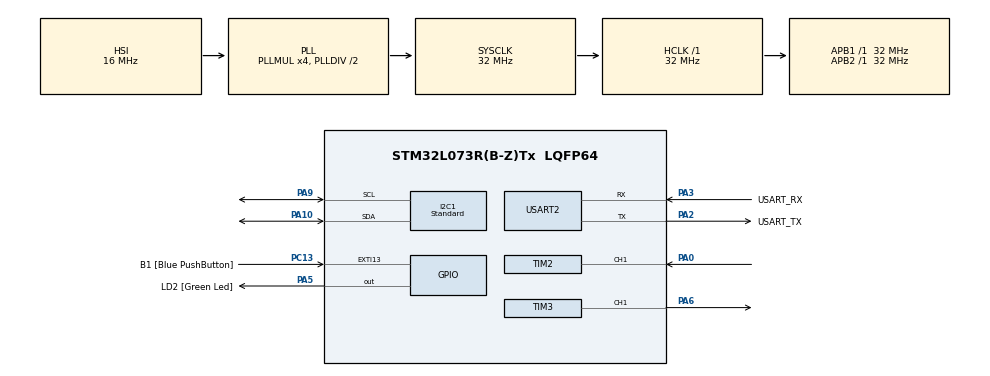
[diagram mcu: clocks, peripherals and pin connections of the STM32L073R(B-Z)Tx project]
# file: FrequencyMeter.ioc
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Dma.I2C1_RX.0.Direction=DMA_PERIPH_TO_MEMORY
Dma.I2C1_RX.0.Instance=DMA1_Channel3
Dma.I2C1_RX.0.MemDataAlignment=DMA_MDATAALIGN_BYTE
Dma.I2C1_RX.0.MemInc=DMA_MINC_ENABLE
Dma.I2C1_RX.0.Mode=DMA_NORMAL
Dma.I2C1_RX.0.PeriphDataAlignment=DMA_PDATAALIGN_BYTE
Dma.I2C1_RX.0.PeriphInc=DMA_PINC_DISABLE
Dma.I2C1_RX.0.Priority=DMA_PRIORITY_LOW
Dma.I2C1_TX.1.Direction=DMA_MEMORY_TO_PERIPH
Dma.I2C1_TX.1.Instance=DMA1_Channel2
Dma.I2C1_TX.1.MemDataAlignment=DMA_MDATAALIGN_BYTE
Dma.I2C1_TX.1.MemInc=DMA_MINC_ENABLE
Dma.I2C1_TX.1.Mode=DMA_NORMAL
Dma.I2C1_TX.1.PeriphDataAlignment=DMA_PDATAALIGN_BYTE
Dma.I2C1_TX.1.PeriphInc=DMA_PINC_DISABLE
Dma.I2C1_TX.1.Priority=DMA_PRIORITY_LOW
Dma.Request0=I2C1_RX
Dma.Request1=I2C1_TX
Dma.Request2=TIM2_CH1
Dma.TIM2_CH1.2.Direction=DMA_PERIPH_TO_MEMORY
Dma.TIM2_CH1.2.Instance=DMA1_Channel5
Dma.TIM2_CH1.2.MemDataAlignment=DMA_MDATAALIGN_HALFWORD
Dma.TIM2_CH1.2.MemInc=DMA_MINC_ENABLE
Dma.TIM2_CH1.2.Mode=DMA_CIRCULAR
Dma.TIM2_CH1.2.PeriphDataAlignment=DMA_PDATAALIGN_HALFWORD
Dma.TIM2_CH1.2.PeriphInc=DMA_PINC_DISABLE
Dma.TIM2_CH1.2.Priority=DMA_PRIORITY_LOW
I2C1.I2C_Rise_Time=0
I2C1.I2C_Speed_Mode=I2C_Standard
I2C1.Timing=0x40101A22
Mcu.Family=STM32L0
Mcu.Name=STM32L073R(B-Z)Tx
Mcu.Package=LQFP64
NVIC.DMA1_Channel2_3_IRQn=true\:0\:0\:false\:false\:true\:false\:true\:true
NVIC.DMA1_Channel4_5_6_7_IRQn=true\:0\:0\:false\:false\:true\:false\:true\:true
NVIC.I2C1_IRQn=true\:0\:0\:false\:false\:true\:true\:true\:true
NVIC.TIM2_IRQn=true\:0\:0\:false\:false\:true\:true\:true\:true
PA0.Signal=S_TIM2_CH1
PA10.Mode=I2C
PA10.Signal=I2C1_SDA
PA13.GPIO_Label=TMS
PA13.Mode=Serial_Wire
PA13.Signal=SYS_SWDIO
PA14.GPIO_Label=TCK
PA14.Mode=Serial_Wire
PA14.Signal=SYS_SWCLK
PA2.GPIO_Label=USART_TX
PA2.Mode=Asynchronous
PA2.Signal=USART2_TX
PA3.GPIO_Label=USART_RX
PA3.Mode=Asynchronous
PA3.Signal=USART2_RX
PA5.GPIO_Label=LD2 [Green Led]
PA5.Signal=GPIO_Output
PA6.Signal=S_TIM3_CH1
PA9.Mode=I2C
PA9.Signal=I2C1_SCL
PC13.GPIO_Label=B1 [Blue PushButton]
PC13.GPIO_ModeDefaultEXTI=GPIO_MODE_IT_FALLING
PC13.Signal=GPXTI13
PC14-OSC32_IN.Signal=RCC_OSC32_IN
PC15-OSC32_OUT.Signal=RCC_OSC32_OUT
PH0-OSC_IN.GPIO_Label=MCO
PH0-OSC_IN.Mode=HSE-External-Oscillator
PH0-OSC_IN.Signal=RCC_OSC_IN
PH1-OSC_OUT.Mode=HSE-External-Oscillator
PH1-OSC_OUT.Signal=RCC_OSC_OUT
ProjectManager.HeapSize=0x200
ProjectManager.StackSize=0x400
ProjectManager.TargetToolchain=MDK-ARM V5.32
RCC.AHBFreq_Value=32000000
RCC.APB1Freq_Value=32000000
RCC.APB1TimFreq_Value=32000000
RCC.APB2Freq_Value=32000000
RCC.APB2TimFreq_Value=32000000
RCC.HCLKFreq_Value=32000000
RCC.HSE_VALUE=8000000
RCC.HSI16_VALUE=16000000
RCC.HSI48_VALUE=48000000
RCC.HSI_VALUE=16000000
RCC.LSE_VALUE=32768
RCC.MSI_VALUE=2097000
RCC.PLLMUL=RCC_PLLMUL_4
RCC.SYSCLKFreq_VALUE=32000000
RCC.SYSCLKSource=RCC_SYSCLKSOURCE_PLLCLK
RCC.VCOOutputFreq_Value=64000000
SH.S_TIM2_CH1.0=TIM2_CH1,Input_Capture1_from_TI1
SH.S_TIM3_CH1.0=TIM3_CH1,PWM Generation1 CH1
TIM2.Channel-Input_Capture1_from_TI1=TIM_CHANNEL_1
TIM2.Period=0xffff
TIM2.Prescaler=32-1
TIM3.Channel-PWM\ Generation1\ CH1=TIM_CHANNEL_1
TIM3.Period=25000
TIM3.Prescaler=512-1
USART2.VirtualMode-Asynchronous=VM_ASYNC
VP_TIM2_VS_ClockSourceINT.Mode=Internal
VP_TIM3_VS_ClockSourceINT.Mode=Internal
board=NUCLEO-L073RZ

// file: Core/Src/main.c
/* USER CODE BEGIN Header */
/**
  ******************************************************************************
  * @file           : main.c
  * @brief          : Main program body
  ******************************************************************************
  * @attention
  *
  * Copyright (c) 2026 STMicroelectronics.
  * All rights reserved.
  *
  * This software is licensed under terms that can be found in the LICENSE file
  * in the root directory of this software component.
  * If no LICENSE file comes with this software, it is provided AS-IS.
  *
  ******************************************************************************
  */
/* USER CODE END Header */
#include "main.h"

/* USER CODE BEGIN Includes */
#include <math.h>
#include <stdlib.h>
#include <stdio.h>
#include "I2C_LCD.h"

/* USER CODE END Includes */

/* USER CODE BEGIN PD */
#define TIMCLOCK 32000000
#define MyI2C_LCD I2C_LCD_1

/* USER CODE END PD */

I2C_HandleTypeDef hi2c1;
DMA_HandleTypeDef hdma_i2c1_rx;
DMA_HandleTypeDef hdma_i2c1_tx;

TIM_HandleTypeDef htim2;
TIM_HandleTypeDef htim3;
DMA_HandleTypeDef hdma_tim2_ch1;

UART_HandleTypeDef huart2;

/* USER CODE BEGIN PV */

// First & second Rising Edge time values, difference in time and etc..
uint32_t IC_Val1 = 0;
uint32_t IC_Val2 = 0;
uint32_t Difference = 0;
int Is_First_Captured = 0;

// TIM2 Signal capture prescaler. Lower for higher frequency signal measurement.
// Higher for lower frequency signal measurment.
int PRESCALERabc = 16;

// Frequency generator Prescaler
int TIM3Pres = 65536;

float frequency = 0;
char ToMonitor[18];

// Variables for UART
uint8_t rxData;
char txMessage[50];

/* USER CODE END PV */

void SystemClock_Config(void);
static void MX_GPIO_Init(void);
static void MX_DMA_Init(void);
static void MX_USART2_UART_Init(void);
static void MX_I2C1_Init(void);
static void MX_TIM2_Init(void);
static void MX_TIM3_Init(void);

/* USER CODE BEGIN 0 */
void HAL_TIM_IC_CaptureCallback(TIM_HandleTypeDef *htim)
{
	if (htim->Channel == HAL_TIM_ACTIVE_CHANNEL_1)
	{
		if (Is_First_Captured==0) // if the first rising edge is not captured
		{
			IC_Val1 = HAL_TIM_ReadCapturedValue(htim, TIM_CHANNEL_1); // read the first value
			Is_First_Captured = 1;  // set the first captured as true
		}

		else   // If the first rising edge is captured, now we will capture the second edge
		{
			IC_Val2 = HAL_TIM_ReadCapturedValue(htim, TIM_CHANNEL_1);  // read second value

			if (IC_Val2 > IC_Val1)
			{
				Difference = IC_Val2-IC_Val1;
			}

			else if (IC_Val1 > IC_Val2)
			{
				Difference = (0xffff - IC_Val1) + IC_Val2;
			}

			float refClock = TIMCLOCK/PRESCALERabc;

			frequency = refClock/Difference;

			// Converting frequency to UART message
			sprintf(txMessage, "Frequency: %.4f Hz\r\n", frequency);

			// Converting frequency to I2C message
			sprintf(ToMonitor, "%.2f Hz  ", frequency);

			// Adjusting measurement prescaler to have more accurate results

//			if(frequency > 0 && frequency < 300)
//				PRESCALERabc = 128;
//			else if (frequency < 5500)
//				PRESCALERabc = 64;
//			else
//				PRESCALERabc = 16;
//			__HAL_TIM_SET_PRESCALER(htim, PRESCALERabc);
			__HAL_TIM_SET_COUNTER(htim, 0);  // reset the counter
			Is_First_Captured = 0; // set it back to false
		}
	}
}

/* USER CODE END 0 */

int main(void)
{

  /* MCU Configuration--------------------------------------------------------*/

  /* Reset of all peripherals, Initializes the Flash interface and the Systick. */
  HAL_Init();

  /* Configure the system clock */
  SystemClock_Config();

  /* Initialize all configured peripherals */
  MX_GPIO_Init();
  MX_DMA_Init();
  MX_USART2_UART_Init();
  MX_I2C1_Init();
  MX_TIM2_Init();
  MX_TIM3_Init();
  /* USER CODE BEGIN 2 */

	// Starting TIM3 PWM generator.
	TIM3->CCR1=5;
	HAL_TIM_IC_Start_IT(&htim3, TIM_CHANNEL_1);

	// Starting TIM2 signal capture
  HAL_TIM_IC_Start_IT(&htim2, TIM_CHANNEL_1);

	// Initializing 16x2 I2C LCD screen
	I2C_LCD_Init(MyI2C_LCD);
	I2C_LCD_SetCursor(MyI2C_LCD, 0, 0);
	I2C_LCD_WriteString(MyI2C_LCD, "Frequency:");
	I2C_LCD_SetCursor(MyI2C_LCD, 0, 1);
	I2C_LCD_WriteString(MyI2C_LCD, "Waiting");

  /* USER CODE END 2 */

  /* Infinite loop */
  while (1)
  {

    /* USER CODE BEGIN 3 */

		// Sending data to UART reciever
		HAL_UART_Transmit(&huart2, (uint8_t*)txMessage, sizeof(txMessage)-1, HAL_MAX_DELAY);
		HAL_Delay(400);

		// Sending data to I2C 16x2 LCD screen
		I2C_LCD_SetCursor(MyI2C_LCD, 0, 0);
		I2C_LCD_WriteString(MyI2C_LCD, "Frequency:");
		I2C_LCD_SetCursor(MyI2C_LCD, 0, 1);
		I2C_LCD_WriteString(MyI2C_LCD, ToMonitor);
		HAL_Delay(600);

		//Increasing frequency by first lowering the Prescaler, then by lowering the counter period.
		if(TIM3Pres > 4096){
			TIM3Pres-=4096;
			__HAL_TIM_SET_PRESCALER(&htim3,TIM3Pres);
		}
		else if(TIM3Pres > 512){
			TIM3Pres-=512;
				__HAL_TIM_SET_PRESCALER(&htim3,TIM3Pres);
		}
		else if(TIM3Pres > 128){
			TIM3Pres-=32;
				__HAL_TIM_SET_PRESCALER(&htim3,TIM3Pres);
		}
		else if(TIM3Pres > 64){
			TIM3Pres-=8;
				__HAL_TIM_SET_PRESCALER(&htim3,TIM3Pres);
		}
		else if(TIM3Pres >0){
			TIM3Pres--;
				__HAL_TIM_SET_PRESCALER(&htim3,TIM3Pres);
		}
	}
  /* USER CODE END 3 */
}

void SystemClock_Config(void)
{
  RCC_OscInitTypeDef RCC_OscInitStruct = {0};
  RCC_ClkInitTypeDef RCC_ClkInitStruct = {0};
  RCC_PeriphCLKInitTypeDef PeriphClkInit = {0};

  /** Configure the main internal regulator output voltage
  */
  __HAL_PWR_VOLTAGESCALING_CONFIG(PWR_REGULATOR_VOLTAGE_SCALE1);

  /** Initializes the RCC Oscillators according to the specified parameters
  * in the RCC_OscInitTypeDef structure.
  */
  RCC_OscInitStruct.OscillatorType = RCC_OSCILLATORTYPE_HSI;
  RCC_OscInitStruct.HSIState = RCC_HSI_ON;
  RCC_OscInitStruct.HSICalibrationValue = RCC_HSICALIBRATION_DEFAULT;
  RCC_OscInitStruct.PLL.PLLState = RCC_PLL_ON;
  RCC_OscInitStruct.PLL.PLLSource = RCC_PLLSOURCE_HSI;
  RCC_OscInitStruct.PLL.PLLMUL = RCC_PLLMUL_4;
  RCC_OscInitStruct.PLL.PLLDIV = RCC_PLLDIV_2;
  if (HAL_RCC_OscConfig(&RCC_OscInitStruct) != HAL_OK)
  {
    Error_Handler();
  }

  /** Initializes the CPU, AHB and APB buses clocks
  */
  RCC_ClkInitStruct.ClockType = RCC_CLOCKTYPE_HCLK|RCC_CLOCKTYPE_SYSCLK
                              |RCC_CLOCKTYPE_PCLK1|RCC_CLOCKTYPE_PCLK2;
  RCC_ClkInitStruct.SYSCLKSource = RCC_SYSCLKSOURCE_PLLCLK;
  RCC_ClkInitStruct.AHBCLKDivider = RCC_SYSCLK_DIV1;
  RCC_ClkInitStruct.APB1CLKDivider = RCC_HCLK_DIV1;
  RCC_ClkInitStruct.APB2CLKDivider = RCC_HCLK_DIV1;

  if (HAL_RCC_ClockConfig(&RCC_ClkInitStruct, FLASH_LATENCY_1) != HAL_OK)
  {
    Error_Handler();
  }
  PeriphClkInit.PeriphClockSelection = RCC_PERIPHCLK_USART2|RCC_PERIPHCLK_I2C1;
  PeriphClkInit.Usart2ClockSelection = RCC_USART2CLKSOURCE_PCLK1;
  PeriphClkInit.I2c1ClockSelection = RCC_I2C1CLKSOURCE_PCLK1;
  if (HAL_RCCEx_PeriphCLKConfig(&PeriphClkInit) != HAL_OK)
  {
    Error_Handler();
  }
}

static void MX_I2C1_Init(void)
{

  hi2c1.Instance = I2C1;
  hi2c1.Init.Timing = 0x40101A22;
  hi2c1.Init.OwnAddress1 = 0;
  hi2c1.Init.AddressingMode = I2C_ADDRESSINGMODE_7BIT;
  hi2c1.Init.DualAddressMode = I2C_DUALADDRESS_DISABLE;
  hi2c1.Init.OwnAddress2 = 0;
  hi2c1.Init.OwnAddress2Masks = I2C_OA2_NOMASK;
  hi2c1.Init.GeneralCallMode = I2C_GENERALCALL_DISABLE;
  hi2c1.Init.NoStretchMode = I2C_NOSTRETCH_DISABLE;
  if (HAL_I2C_Init(&hi2c1) != HAL_OK)
  {
    Error_Handler();
  }

  /** Configure Analogue filter
  */
  if (HAL_I2CEx_ConfigAnalogFilter(&hi2c1, I2C_ANALOGFILTER_ENABLE) != HAL_OK)
  {
    Error_Handler();
  }

  /** Configure Digital filter
  */
  if (HAL_I2CEx_ConfigDigitalFilter(&hi2c1, 0) != HAL_OK)
  {
    Error_Handler();
  }

}

static void MX_TIM2_Init(void)
{

  TIM_ClockConfigTypeDef sClockSourceConfig = {0};
  TIM_MasterConfigTypeDef sMasterConfig = {0};
  TIM_IC_InitTypeDef sConfigIC = {0};

  htim2.Instance = TIM2;
  htim2.Init.Prescaler = PRESCALERabc-1;
  htim2.Init.CounterMode = TIM_COUNTERMODE_UP;
  htim2.Init.Period = 0xffff;
  htim2.Init.ClockDivision = TIM_CLOCKDIVISION_DIV1;
  htim2.Init.AutoReloadPreload = TIM_AUTORELOAD_PRELOAD_DISABLE;
  if (HAL_TIM_Base_Init(&htim2) != HAL_OK)
  {
    Error_Handler();
  }
  sClockSourceConfig.ClockSource = TIM_CLOCKSOURCE_INTERNAL;
  if (HAL_TIM_ConfigClockSource(&htim2, &sClockSourceConfig) != HAL_OK)
  {
    Error_Handler();
  }
  if (HAL_TIM_IC_Init(&htim2) != HAL_OK)
  {
    Error_Handler();
  }
  sMasterConfig.MasterOutputTrigger = TIM_TRGO_RESET;
  sMasterConfig.MasterSlaveMode = TIM_MASTERSLAVEMODE_DISABLE;
  if (HAL_TIMEx_MasterConfigSynchronization(&htim2, &sMasterConfig) != HAL_OK)
  {
    Error_Handler();
  }
  sConfigIC.ICPolarity = TIM_INPUTCHANNELPOLARITY_RISING;
  sConfigIC.ICSelection = TIM_ICSELECTION_DIRECTTI;
  sConfigIC.ICPrescaler = TIM_ICPSC_DIV1;
  sConfigIC.ICFilter = 0;
  if (HAL_TIM_IC_ConfigChannel(&htim2, &sConfigIC, TIM_CHANNEL_1) != HAL_OK)
  {
    Error_Handler();
  }

}

static void MX_TIM3_Init(void)
{

  TIM_ClockConfigTypeDef sClockSourceConfig = {0};
  TIM_MasterConfigTypeDef sMasterConfig = {0};
  TIM_OC_InitTypeDef sConfigOC = {0};

  htim3.Instance = TIM3;
  htim3.Init.Prescaler = TIM3Pres-1;
  htim3.Init.CounterMode = TIM_COUNTERMODE_UP;
  htim3.Init.Period = 320;
  htim3.Init.ClockDivision = TIM_CLOCKDIVISION_DIV1;
  htim3.Init.AutoReloadPreload = TIM_AUTORELOAD_PRELOAD_DISABLE;
  if (HAL_TIM_Base_Init(&htim3) != HAL_OK)
  {
    Error_Handler();
  }
  sClockSourceConfig.ClockSource = TIM_CLOCKSOURCE_INTERNAL;
  if (HAL_TIM_ConfigClockSource(&htim3, &sClockSourceConfig) != HAL_OK)
  {
    Error_Handler();
  }
  if (HAL_TIM_PWM_Init(&htim3) != HAL_OK)
  {
    Error_Handler();
  }
  sMasterConfig.MasterOutputTrigger = TIM_TRGO_RESET;
  sMasterConfig.MasterSlaveMode = TIM_MASTERSLAVEMODE_DISABLE;
  if (HAL_TIMEx_MasterConfigSynchronization(&htim3, &sMasterConfig) != HAL_OK)
  {
    Error_Handler();
  }
  sConfigOC.OCMode = TIM_OCMODE_PWM1;
  sConfigOC.Pulse = 0;
  sConfigOC.OCPolarity = TIM_OCPOLARITY_HIGH;
  sConfigOC.OCFastMode = TIM_OCFAST_DISABLE;
  if (HAL_TIM_PWM_ConfigChannel(&htim3, &sConfigOC, TIM_CHANNEL_1) != HAL_OK)
  {
    Error_Handler();
  }
  if (HAL_TIMEx_RemapConfig(&htim3, TIM3_TI1_GPIO) != HAL_OK)
  {
    Error_Handler();
  }
  HAL_TIM_MspPostInit(&htim3);

}

static void MX_USART2_UART_Init(void)
{

  huart2.Instance = USART2;
  huart2.Init.BaudRate = 115200;
  huart2.Init.WordLength = UART_WORDLENGTH_8B;
  huart2.Init.StopBits = UART_STOPBITS_1;
  huart2.Init.Parity = UART_PARITY_NONE;
  huart2.Init.Mode = UART_MODE_TX_RX;
  huart2.Init.HwFlowCtl = UART_HWCONTROL_NONE;
  huart2.Init.OverSampling = UART_OVERSAMPLING_16;
  huart2.Init.OneBitSampling = UART_ONE_BIT_SAMPLE_DISABLE;
  huart2.AdvancedInit.AdvFeatureInit = UART_ADVFEATURE_NO_INIT;
  if (HAL_UART_Init(&huart2) != HAL_OK)
  {
    Error_Handler();
  }

}

static void MX_DMA_Init(void)
{

  /* DMA controller clock enable */
  __HAL_RCC_DMA1_CLK_ENABLE();

  /* DMA interrupt init */
  /* DMA1_Channel2_3_IRQn interrupt configuration */
  HAL_NVIC_SetPriority(DMA1_Channel2_3_IRQn, 0, 0);
  HAL_NVIC_EnableIRQ(DMA1_Channel2_3_IRQn);
  /* DMA1_Channel4_5_6_7_IRQn interrupt configuration */
  HAL_NVIC_SetPriority(DMA1_Channel4_5_6_7_IRQn, 0, 0);
  HAL_NVIC_EnableIRQ(DMA1_Channel4_5_6_7_IRQn);

}

static void MX_GPIO_Init(void)
{
  GPIO_InitTypeDef GPIO_InitStruct = {0};

  /* GPIO Ports Clock Enable */
  __HAL_RCC_GPIOC_CLK_ENABLE();
  __HAL_RCC_GPIOH_CLK_ENABLE();
  __HAL_RCC_GPIOA_CLK_ENABLE();

  /*Configure GPIO pin Output Level */
  HAL_GPIO_WritePin(LD2_GPIO_Port, LD2_Pin, GPIO_PIN_RESET);

  /*Configure GPIO pin : B1_Pin */
  GPIO_InitStruct.Pin = B1_Pin;
  GPIO_InitStruct.Mode = GPIO_MODE_IT_FALLING;
  GPIO_InitStruct.Pull = GPIO_NOPULL;
  HAL_GPIO_Init(B1_GPIO_Port, &GPIO_InitStruct);

  /*Configure GPIO pin : LD2_Pin */
  GPIO_InitStruct.Pin = LD2_Pin;
  GPIO_InitStruct.Mode = GPIO_MODE_OUTPUT_PP;
  GPIO_InitStruct.Pull = GPIO_NOPULL;
  GPIO_InitStruct.Speed = GPIO_SPEED_FREQ_LOW;
  HAL_GPIO_Init(LD2_GPIO_Port, &GPIO_InitStruct);

}

void Error_Handler(void)
{
  __disable_irq();
  while (1)
  {
  }
}
